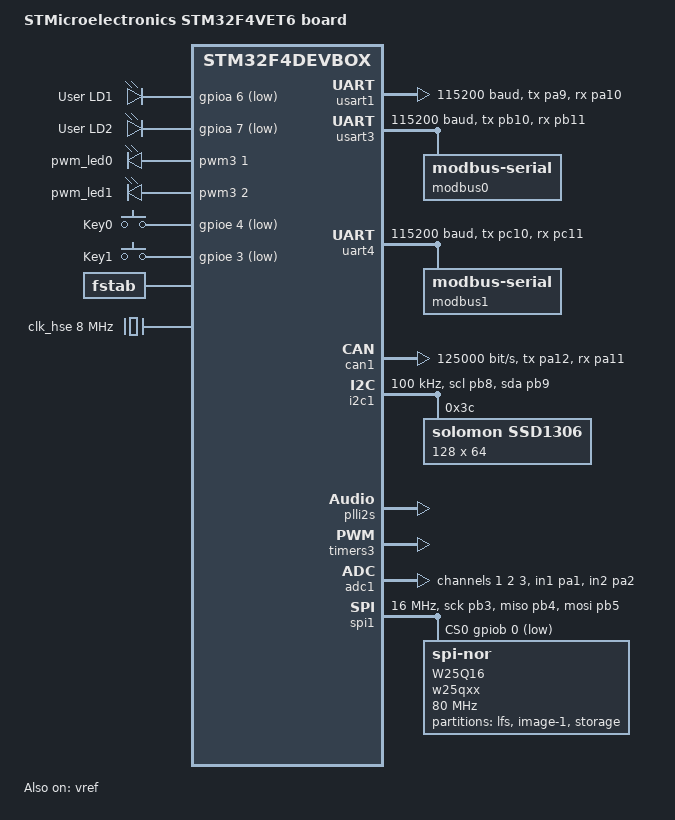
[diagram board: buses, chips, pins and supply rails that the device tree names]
/*
 * Copyright (c) 2017 Linaro Limited
 *
 * SPDX-License-Identifier: Apache-2.0
 */

/dts-v1/;
#include <st/f4/stm32f407Xg.dtsi>
#include <st/f4/stm32f407v(e-g)tx-pinctrl.dtsi>
#include <zephyr/dt-bindings/input/input-event-codes.h>
#include <zephyr/dt-bindings/dma/stm32_dma.h>

/ {
	model = "STMicroelectronics STM32F4VET6 board";
	compatible = "st,stm32f4devbox";

	/*
	 * chosen 节点: Zephyr 系统的运行时配置参数
	 *
	 * Q: 最少需要指定哪些参数？
	 *
	 * A: 严格来说没有"最少"，但一个能正常启动的 Zephyr 应用至少需要:
	 *    zephyr,sram  — 告诉内核 SRAM 的起始地址和大小（用于内存管理）
	 *    zephyr,flash — 告诉内核 Flash 的起始地址和大小（用于代码定位）
	 *
	 *    zephyr,console  是可选的，但没它就没有串口输出。
	 *    zephyr,shell-uart 也是可选的，只有用 shell 子系统时才需要。
	 *
	 *    常用 chosen 属性一览:
	 *    zephyr,sram        — RAM 节点，内核堆和线程栈从这里分配
	 *    zephyr,flash       — Flash 节点，代码和只读数据存放位置
	 *    zephyr,console     — 默认控制台设备（printk 输出目标）
	 *    zephyr,shell-uart  — Shell 子系统使用的 UART
	 *    zephyr,uart-pipe   — 远程 shell 管道用的 UART
	 *    zephyr,code-partition  — 代码烧录的分区
	 *    zephyr,dtcm / zephyr,itcm — TCM 内存（Cortex-M7 等）
	 */
	chosen {
		zephyr,console = &usart1;
		zephyr,shell-uart = &usart1;
		zephyr,sram = &sram0;
		zephyr,flash = &flash0;
		zephyr,code-partition = &slot0_partition;//指定代码烧录的分区
		zephyr,display = &ssd1306;               //默认显示设备（Display API / LVGL 使用）
	};

	leds {
		compatible = "gpio-leds";

		/*
		 * 设备树节点定义语法:  label: node-name { ... };
		 *
		 *   label     (冒号左边): 节点标签，用于被 & 引用，如 &led0
		 *   node-name (冒号右边): 节点名称，是节点在设备树路径中的名称
		 *
		 * 【易错点】aliases 中 & 引用的是 label，不是 node-name！
		 *
		 *   正确: led0: led_0 { ... };  aliases { led0 = &led0; }
		 *   错误: led0: led_0 { ... };  aliases { led0 = &led_0; }  ← 编译报错！
		 *
		 * 因为 &led_0 试图引用名为 "led_0" 的标签，但标签是 "led0"。
		 * 报错信息: "devicetree error: /aliases: undefined node label 'led_0'"
		 *
		 * 【推荐写法】为避免混淆，建议 label 和 node-name 使用不同命名：
		 *   green_led: led_0 { ... };   aliases { led0 = &green_led; }
		 *   参考 stm32f4_disco 板卡的写法。
		 */
		led0: led_0 {
			gpios = <&gpioa 6 GPIO_ACTIVE_LOW>;
			label = "User LD1";
		};

		led1: led_1 {
			gpios = <&gpioa 7 GPIO_ACTIVE_LOW>;
			label = "User LD2";
		};
	};

	pwmleds: pwmleds {
		compatible = "pwm-leds";

		pwm_led0: pwm_led_0 {
		pwms = <&pwm3 1 PWM_MSEC(20) PWM_POLARITY_NORMAL>;
		/* &pwm3: 引用 timers3 的 pwm 子节点 */
		/* 1: TIM3 通道 1 → PA6 */
		/* PWM_MSEC(20): 周期 20ms = 50Hz，适合 LED 调光 */
		};

		pwm_led1: pwm_led_1 {
		pwms = <&pwm3 2 PWM_MSEC(20) PWM_POLARITY_NORMAL>;
		/* 2: TIM3 通道 2 → PA7 */
		};
	};

	gpio_keys: gpio_keys {
		compatible = "gpio-keys";
		debounce-interval-ms = <30>;    /* 去抖时间 30ms */
		user_button0: button0 {
			label = "Key0";
			gpios = <&gpioe 4 GPIO_ACTIVE_LOW>;
			zephyr,code = <INPUT_KEY_0>;
		};

		user_button1: button1 {
			label = "Key1";
			gpios = <&gpioe 3 GPIO_ACTIVE_LOW>;
			zephyr,code = <INPUT_KEY_1>;
		};

	};

	longpress: longpress {
		compatible = "zephyr,input-longpress";
		input = <&gpio_keys>;                              /* 监听哪个设备，不填则监听所有 */
		input-codes = <INPUT_KEY_0>, <INPUT_KEY_1>;        /* 要检测的按键码 */
		short-codes = <INPUT_KEY_A>, <INPUT_KEY_B>;        /* 短按时输出的码 */
		long-codes = <INPUT_KEY_X>, <INPUT_KEY_Y>;         /* 长按时输出的码 */
		long-delay-ms = <2000>;                             /* 超过此时间算长按 */
	};

	/*
	 * aliases 节点: 为节点创建别名，供 C 代码通过 DT_ALIAS() 宏引用。
	 *
	 * 例如: #define LED0_NODE DT_ALIAS(led0)
	 *       会解析到 aliases 中的 led0 = &led0，进而找到 leds/led_0 节点。
	 *
	 * Zephyr 常用别名约定:
	 *   led0, led1, led2, ...   → LED 指示灯
	 *   sw0, sw1, sw2, ...      → 按键开关
	 *   bt0, bt1, ...           → 按键（另一种命名）
	 *   volt-sensor0, ...       → 电压传感器
	 *   die-temp0, ...          → 芯片温度传感器
	 */
	aliases {
		led0 = &led0;
		led1 = &led1;
		pwm-led0 = &pwm_led0;
		pwm-led1 = &pwm_led1;
		bt0 = &user_button0;
		bt1 = &user_button1;
		adc1 = &adc1;
		volt-sensor0 = &vref;
	};
};


&flash0 {
	partitions {
		compatible = "fixed-partitions";
		#address-cells = <1>;
		#size-cells = <1>;

		/*
		 * STM32F407VET6 内部 flash: 512KB
		 *
		 * 扇区布局（最小擦除单位 = 整个扇区）:
		 * Sector 0: 0x00000000, 16KB
		 * Sector 1: 0x00004000, 16KB
		 * Sector 2: 0x00008000, 16KB
		 * Sector 3: 0x0000C000, 16KB
		 * Sector 4: 0x00010000, 64KB
		 * Sector 5: 0x00020000, 128KB
		 * Sector 6: 0x00040000, 128KB
		 * Sector 7: 0x00060000, 128KB
		 *
		 * MCUboot 分区规划（Overwrite 模式 + 外部 flash slot1）:
		 *   mcuboot  : 48KB   — 引导加载程序（Sector 0~2）
		 *   image-0  : 464KB  — 主应用固件（Sector 3~7）
		 *   image-1  : 512KB  — 升级固件暂存（W25Q16 外部 flash）
		 *
		 * Overwrite 模式说明:
		 *   升级时 MCUboot 从外部 flash 的 slot1 读取镜像，
		 *   覆写到内部 flash 的 slot0，无需 scratch 分区。
		 *   优点: 内部 flash 空间最大化（464KB vs 旧方案 208KB）
		 *   缺点: 升级中断无法回滚（需确保升级过程完整）
		 *   配置: MCUboot 需启用 CONFIG_BOOT_UPGRADE_ONLY=y
		 *
		 * 跨设备 flash 工作原理:
		 *   Zephyr flash_map 为每个分区生成 flash_area 结构体，
		 *   其中 fa_dev 指向对应的 flash 驱动设备:
		 *     slot0 (内部 flash) → fa_dev = SOC_FLASH_STM32 驱动
		 *     slot1 (W25Q16)     → fa_dev = SPI_NOR 驱动
		 *   MCUboot 的 flash_area_read/write/erase 通过 fa_dev
		 *   自动路由到正确的驱动，无需手动区分设备。
		 *
		 *   Overwrite 模式关键路径:
		 *     1. boot_read_image_headers() → flash_area_read(slot1) → SPI NOR 驱动
		 *     2. bootutil_img_validate()   → flash_area_read(slot1) → SPI NOR 驱动
		 *     3. boot_copy_region()        → read(slot1) + write(slot0) → 跨设备复制
		 *     4. do_boot()                 → flash_device_base(slot0) → 内部 flash 跳转
		 *   所有 I/O 操作通过 fa_dev 路由，跳转地址始终是内部 flash。
		 *
		 * 必要配置:
		 *   1. CONFIG_SPI_NOR_FLASH_LAYOUT_PAGE_SIZE=4096
		 *      W25Q16 最小擦除单位是 4KB，必须让驱动报告真实值，
		 *      否则 boot_slots_compatible() 会因 64KB 不能整除 16KB 而失败
		 *   2. CONFIG_BOOT_MAX_IMG_SECTORS=256
		 *      slot1 有 512KB/4KB = 128 个扇区，需增大默认值
		 *
		 * MCUboot 编译命令:
		 *   zephyrproject\bootloader\mcuboot\boot\zephyr> \
		 *   west build -b stm32f4_devebox -d build_mcuboot -- \
		 *     -DCONFIG_BOOT_UPGRADE_ONLY=y
		 *   板级配置文件 boards/stm32f4_devebox.conf 会自动加载
		 */

		boot_partition: partition@0 {
			label = "mcuboot";
			reg = <0x00000000 DT_SIZE_K(48)>;
			read-only;
		};
		slot0_partition: partition@c000 {
			label = "image-0";
			reg = <0x0000C000 DT_SIZE_K(464)>;
		};
	};
};


/*
 * DMA1 必须启用，因为 UART3 和 UART4 的 DMA 请求连接在 DMA1 上：
 *   UART3_TX → DMA1 Stream3 Ch4    UART3_RX → DMA1 Stream1 Ch4
 *   UART4_TX → DMA1 Stream4 Ch4    UART4_RX → DMA1 Stream2 Ch4
 */
&dma1 {
	status = "okay";
};

&dma2 {
	status = "okay";
};

&clk_lsi {
	status = "okay";
};

&clk_hse {
	clock-frequency = <DT_FREQ_M(8)>;
	status = "okay";
};

&pll {
	div-m = <8>;
	mul-n = <336>;
	div-p = <2>;
	div-q = <7>;
	clocks = <&clk_hse>;
	status = "okay";
};

&rcc {
	clocks = <&pll>;
	clock-frequency = <DT_FREQ_M(168)>;
	ahb-prescaler = <1>;
	apb1-prescaler = <4>;
	apb2-prescaler = <2>;
};

&usart1 {
	pinctrl-0 = <&usart1_tx_pa9 &usart1_rx_pa10>;
	pinctrl-names = "default";
	current-speed = <115200>;
	status = "okay";
};

&usart3 {
	pinctrl-0 = <&usart3_tx_pb10 &usart3_rx_pb11>;
	pinctrl-names = "default";
	current-speed = <115200>;
	/*
	 * Async API (DMA 模式) 需要 dmas:
	 *   3 = DMA1 Stream 3 (TX),   4 = Channel 4 (USART3_TX 请求线)
	 *   1 = DMA1 Stream 1 (RX),   4 = Channel 4 (USART3_RX 请求线)
	 *   STM32_DMA_PERIPH_TX = MEM_TO_PERIPH | MEM_INC (默认 8-bit)
	 *   STM32_DMA_PERIPH_RX = PERIPH_TO_MEM | MEM_INC (默认 8-bit)
	 */
	dmas = <&dma1 3 4 STM32_DMA_PERIPH_TX STM32_DMA_FIFO_FULL>,
	       <&dma1 1 4 STM32_DMA_PERIPH_RX STM32_DMA_FIFO_FULL>;
	dma-names = "tx", "rx";
	status = "okay";

	modbus0 {
		compatible = "zephyr,modbus-serial";
		status = "okay";
		/* RS485 收发器需配置 DE 引脚，TTL 直连可省略 */
		/* de-gpios = <&gpiox pin GPIO_ACTIVE_HIGH>; */
	};
};

&uart4 {
	pinctrl-0 = <&uart4_tx_pc10 &uart4_rx_pc11>;
	pinctrl-names = "default";
	current-speed = <115200>;
	/*
	 * UART4 的 DMA 通道:
	 *   4 = DMA1 Stream 4 (TX),   4 = Channel 4 (UART4_TX 请求线)
	 *   2 = DMA1 Stream 2 (RX),   4 = Channel 4 (UART4_RX 请求线)
	 */
	dmas = <&dma1 4 4 STM32_DMA_PERIPH_TX STM32_DMA_FIFO_FULL>,
	       <&dma1 2 4 STM32_DMA_PERIPH_RX STM32_DMA_FIFO_FULL>;
	dma-names = "tx", "rx";
	status = "okay";
	modbus1 {
		compatible = "zephyr,modbus-serial";
		status = "okay";
		/* RS485 收发器需配置 DE 引脚，TTL 直连可省略 */
		/* de-gpios = <&gpiox pin GPIO_ACTIVE_HIGH>; */
	};
};

&can1 {
	pinctrl-0 = <&can1_tx_pa12 &can1_rx_pa11>;
	pinctrl-names = "default";
	bitrate = <125000>;
	sample-point = <875>;
	status = "okay";

	can-transceiver {
		max-bitrate = <1000000>;
	};
};

/*
 * I2C1 节点配置详解
 *
 * Q: pinctrl-0 和 pinctrl-names 是什么？为什么 I2C 必须配置？
 *
 * A: pinctrl (Pin Controller) 是 Zephyr 的引脚复用配置机制。
 *    STM32 的每个引脚可以映射到多种外设功能（AF），必须显式指定。
 *
 *    pinctrl-0: 引用 pinctrl dtsi 中预定义的引脚配置节点
 *    pinctrl-names: 为 pinctrl-0 起个名字，"default" 表示默认（也是唯一）配置
 *
 *    I2C 引脚必须配置的原因:
 *    1. STM32 引脚默认是 GPIO 模式，不配置 pinctrl 则 I2C 信号无法输出到引脚
 *    2. I2C 是开漏协议，必须设置 drive-open-drain（pinctrl dtsi 中已预设）
 *    3. I2C 需要上拉电阻，pinctrl 中已设置 bias-pull-up（内部弱上拉，外部仍需上拉）
 *
 *    PB8 = I2C1_SCL (AF4), PB9 = I2C1_SDA (AF4)
 *    这是 I2C1 的默认引脚，定义在 stm32f407v(e-g)tx-pinctrl.dtsi 中
 *
 * Q: clock-frequency 的选择？
 *
 * A: I2C 标准定义了三种速率:
 *    I2C_BITRATE_STANDARD = 100 KHz  (标准模式, 默认值, 兼容性最好)
 *    I2C_BITRATE_FAST     = 400 KHz  (快速模式, 大多数传感器支持)
 *    I2C_BITRATE_FAST_PLUS = 1 MHz   (高速模式, 部分设备支持)
 *
 *    注意: 速率越高，信号完整性要求越高，线长越短。
 *    面包板/杜邦线建议用 100KHz，PCB 短线可用 400KHz。
 *
 * Q: 总线上的设备子节点怎么写？
 *
 * A: I2C 总线设备子节点格式:
 *    device_name: device@address {
 *        compatible = "vendor,device";   // 匹配驱动
 *        reg = <address>;               // 7位地址（不含R/W位）
 *        label = "Friendly Name";       // 旧式标签（可选）
 *    };
 *
 *    address 是 7 位地址（0x00~0x7F），不含最低位的 R/W 标志。
 *    例如: 0x78 = 0b01111000，这是 7 位地址 0x3C 左移 1 位的结果
 *    如果设备数据手册写的是 8 位地址 0x78，则 7 位地址 = 0x78 >> 1 = 0x3C
 *
 *    【重要】0x78 的两种解读:
 *    - 如果 0x78 是 8 位写地址（最常见）: 7 位地址 = 0x78 >> 1 = 0x3C
 *    - 如果 0x78 已经是 7 位地址（少见）: reg = <0x78>
 *    大多数 I2C 设备数据手册给出的地址是包含 R/W 位的 8 位格式，
 *    OLED SSD1306 的常见地址就是 0x3C（7位）或 0x78（8位写）。
 */
&i2c1 {
	pinctrl-0 = <&i2c1_scl_pb8 &i2c1_sda_pb9>;
	pinctrl-names = "default";
	clock-frequency = <I2C_BITRATE_STANDARD>;
	status = "okay";

	/*
	 * SSD1306 OLED 显示屏 (128x64, I2C)
	 *
	 * compatible: "solomon,ssd1306" — 匹配 Zephyr 内置的 SSD1306 驱动
	 *   驱动源码: zephyr/drivers/display/display_ssd1306.c
	 *   DTS绑定: zephyr/dts/bindings/display/solomon,ssd1306-common.yaml
	 *
	 * 属性说明:
	 *   reg              — 7 位 I2C 地址 (0x3C = 8位地址 0x78 >> 1)
	 *   width/height     — 显示分辨率（像素）
	 *   segment-offset   — 列起始偏移（Page 寻址模式下，0 表示从第 0 列开始）
	 *   page-offset      — 页起始偏移（0 表示从第 0 页开始）
	 *   display-offset   — 显示 RAM 到屏幕的行偏移（0 表示无偏移）
	 *   multiplex-ratio  — 复用比 = height - 1（128x64 → 63, 128x32 → 31）
	 *   prechargep       — 预充电周期 [高位:Phase2 低位:Phase1]，0x22 为典型值
	 *   segment-remap    — 水平镜像（列地址 127 映射到 SEG0）
	 *   com-invdir       — 垂直镜像（COM 扫描方向从 COM63 到 COM0）
	 *
	 * segment-remap + com-invdir 的组合效果:
	 *   都不设: 正常方向（适合大多数模块的默认方向）
	 *   都设置: 旋转 180°（如果显示内容上下颠倒，加这两个属性）
	 *   只设一个: 水平或垂直镜像
	 *
	 * reset-gpios: 可选，硬件 RESET 引脚。如果你的模块没有连接 RESET 引脚
	 *   （很多廉价模块直接把 RESET 拉高），可以省略此属性。
	 *   驱动会使用软件复位命令代替。
	 *
	 * SSD1315 兼容性说明:
	 *   SSD1315 是 SSD1306 的国产替代芯片，指令集高度兼容。
	 *   大多数情况下 "solomon,ssd1306" 驱动可以直接驱动 SSD1315。
	 *   如果显示异常，可能需要调整 prechargep 或对比度参数。
	 */
	ssd1306: ssd1306@3c {
		compatible = "solomon,ssd1306";
		reg = <0x3c>;
		width = <128>;
		height = <64>;
		segment-offset = <0>;
		page-offset = <0>;
		display-offset = <0>;
		multiplex-ratio = <63>;
		prechargep = <0x22>;
		segment-remap;
		com-invdir;
	};

	/*
	 * 通用 I2C 设备节点（保留用于 I2C 底层学习）
	 *
	 * 这个节点使用 "zephyr,i2c-device" 通用 compatible，不绑定任何专用驱动。
	 * iic_board.c 中的 i2c_board_scan()、i2c_board_write_reg() 等底层 API
	 * 使用此节点的地址进行 I2C 总线操作练习。
	 *
	 * 注意: SSD1306 和此节点共享同一个 I2C 地址 0x3C，它们是同一个物理设备。
	 *   - 使用 Zephyr Display API 操作屏幕时，通过 ssd1306 节点
	 *   - 学习 I2C 底层通信时，通过此节点（i2c_board_test 等）
	 *   两者不要同时操作，否则可能产生总线冲突。
	 */
	i2c_device_0x78: i2cdev@3c {
		compatible = "zephyr,i2c-device";
		reg = <0x3C>;
		label = "I2C_DEV_0x78";
		/*
		 * 默认禁用: 与 ssd1306 节点共享同一 I2C 地址 0x3C。
		 * 启用 SSD1306 驱动时，两个节点同时 enabled 会导致驱动冲突。
		 * 使用 iic_board 底层测试时，需要:
		 *   1. 将此节点改为 status = "okay"
		 *   2. 将 ssd1306 节点改为 status = "disabled"
		 *   3. 重新编译
		 */
		status = "disabled";
	};
};

/*
 * &vref: 内部参考电压（VREFINT）监测器
 *
 * Q: 这个是什么？一定需要 okay 吗？
 *
 * A: vref 是 STM32 芯片内部的一个校准电压通道（ADC1 通道 17），
 *    电压约 1.21V 且非常稳定。它不是外部引脚，而是芯片内部连接到
 *    ADC 的专用信号。
 *
 *    用途:
 *    1. adc_raw_to_millivolts() 内部用 vref 的值来计算实际 VDDA
 *       因为 VDDA 不一定是精确的 3.3V（可能是 3.2~3.4V），通过
 *       测量稳定的 VREFINT 可以反推真实的 VDDA 电压。
 *
 *       VDDA_real = VREFINT_cal / VREFINT_measured × VDDA_cal
 *       (VREFINT_cal 出厂时校准值存储在 Flash OTP 区域)
 *
 *    2. 如果不启用 vref，adc_raw_to_millivolts() 假定 VDDA = 3.3V
 *       精度会下降，但对于学习项目差异不大。
 *
 *    结论: 学习阶段不启用也可以（status = "disabled"），
 *          但启用后 ADC 电压转换更精确。
 */
&vref {
	status = "okay";
};


&plli2s {
	/* Minimize audio clock error (with i2s mck-enabled) for all of:
	 * - 22.05kHz / 16b, 24b or 32b
	 * - 44.1kHz  / 16b, 24b or 32b
	 * - 88.2kHz  / 16b or 24b
	 * Note: because the PLLI2S is dependent on the main PLL, the latter
	 *       should not be changed without checking impact on PLLI2S
	 */
	div-m = <8>;
	mul-n = <271>;
	div-r = <2>;
	clocks = <&clk_hse>;
	status = "okay";
};

&timers3 {
    status = "okay";
    st,prescaler = <83>;

    pwm3: pwm {
        status = "okay";
        pinctrl-0 = <&tim3_ch1_pa6 &tim3_ch2_pa7>;
        pinctrl-names = "default";
    };
};

/*
 * ============================================================================
 * ADC1 节点配置详解
 * ============================================================================
 *
 * Q: #address-cells = <1>  这是什么？为什么是 1？
 *
 * A: #address-cells 指定子节点 reg 属性中"地址"部分占用的 cell 数量。
 *    一个 cell 是 32 位整数。
 *
 *    #address-cells = <1> 意味着子节点的 reg = <地址>，只占 1 个 cell。
 *    例如: channel@1 { reg = <1>; }  — 1 cell 的地址
 *
 *    如果是 #address-cells = <2>，则需要 2 个 cell:
 *        somechild@1000,2000 { reg = <0x1000 0x2000>; }
 *
 *    常见值:
 *    <1> 用于简单索引地址（通道号、端口号等）
 *    <2> 用于 64 位地址（如 32 位处理器的 64 位外设地址）
 *
 * Q: #size-cells = <0>  这是什么？为什么是 0？
 *
 * A: #size-cells 指定子节点 reg 属性中"大小"部分占用的 cell 数量。
 *
 *    #size-cells = <0> 意味着子节点的 reg 只有"地址"没有"大小"。
 *    channel@1 { reg = <1>; }     — 只有地址 1，无大小
 *
 *    #size-cells = <1>:
 *    somenode@40000000 { reg = <0x40000000 0x400>; }  — 地址 + 大小
 *
 *    对于 ADC 通道，通道号 (1, 2, ...) 本身就是地址，没有"大小"概念，
 *    所以 #size-cells = <0>。
 *
 * Q: dmas = <&dma2 0 0 (STM32_DMA_PERIPH_RX | STM32_DMA_16BITS) STM32_DMA_FIFO_FULL>;
 *    定义了 dmas 可以不使用 dma 吗？参数什么含义？
 *
 * A: 可以！dmas 只是声明"我可以用 DMA"，是否实际启用取决于:
 *    - Kconfig: CONFIG_DMA=y 且 CONFIG_ADC_STM32_DMA=y
 *    - DTS: dma 控制器本身 status = "okay"
 *    如果 Kconfig 没开，dmas 属性被编译进 DT 但驱动不会初始化 DMA。
 *
 *    4 个 cell 参数的含义 (st,stm32-dma-v1 的 #dma-cells = <4>):
 *
 *    Cell 0 (channel): 0  — DMA2 的流编号 (Stream 0)
 *         STM32F4 有 2 个 DMA 控制器，每个 8 个 Stream (0~7)。
 *         ADC1 可以使用 DMA2 Stream 0 或 Stream 4，这里选 Stream 0。
 *
 *    Cell 1 (slot):    0  — DMA 请求通道号 (Channel 0)
 *         每个外设在 DMA 控制器上有一个固定的请求通道。
 *         STM32F407 中 ADC1 的 DMA 请求连接到 DMA2 Channel 0。
 *
 *    Cell 2 (channel_config): (STM32_DMA_PERIPH_RX | STM32_DMA_16BITS)
 *         STM32_DMA_PERIPH_RX = PERIPH_TO_MEMORY(方向:外设→内存) | MEM_INC(内存地址递增)
 *         STM32_DMA_16BITS    = PERIPH_16BITS(外设数据16位宽) | MEM_16BITS(内存数据16位宽)
 *         两者按位或组合成完整的通道配置位域。
 *
 *    Cell 3 (features): STM32_DMA_FIFO_FULL — FIFO 阈值全满
 *         FIFO_THRESHOLD_1_4 = 0  (1/4 满触发传输)
 *         FIFO_THRESHOLD_HALF = 1 (半满触发传输)
 *         FIFO_THRESHOLD_3_4  = 2 (3/4 满触发传输)
 *         FIFO_THRESHOLD_FULL = 3 (全满触发传输)
 *         对于 ADC DMA，这个值影响不大，驱动会自动处理。
 *
 * Q: channel@1 中四个参数什么意思？和 adc.c 重复吗？
 *
 * A: DTS 中的属性声明硬件默认值，C 代码中的 adc_channel_cfg 是运行时配置。
 *
 *    两者关系:
 *    DTS channel@1 定义了:
 *      reg                     — 通道号 (1 = ADC_IN1)
 *      zephyr,gain             — 默认增益
 *      zephyr,reference        — 默认参考源
 *      zephyr,acquisition-time — 默认采样时间
 *      zephyr,resolution       — 默认分辨率
 *
 *    C 代码 adc_channel_setup() 时:
 *      驱动先读取 DTS 的默认值，然后用 adc_channel_cfg 中的值覆盖。
 *      如果 adc_channel_cfg 某字段未设置(值为 0)，则沿用 DTS 默认值。
 *
 *    所以 DTS 是"出厂默认值"，C 代码是"运行时覆盖"。
 *    两者都写是为了: DTS 让硬件配置可见 + C 代码显式控制。
 *    简单场景下只写 adc_channel_cfg 也能工作（驱动会用默认值填充）。
 */
&adc1 {
	#address-cells = <1>;
	#size-cells = <0>;

	pinctrl-0 = <&adc1_in1_pa1 &adc1_in2_pa2>;
	pinctrl-names = "default";
	st,adc-prescaler = <4>;
	dmas = <&dma2 0 0 (STM32_DMA_PERIPH_RX | STM32_DMA_16BITS) STM32_DMA_FIFO_FULL>;
	status = "okay";

	channel@1 {
		reg = <1>;
		zephyr,gain = "ADC_GAIN_1";
		zephyr,reference = "ADC_REF_INTERNAL";
		zephyr,acquisition-time = <ADC_ACQ_TIME_DEFAULT>;
		zephyr,resolution = <12>;
	};

	channel@2 {
		reg = <2>;
		zephyr,gain = "ADC_GAIN_1";
		zephyr,reference = "ADC_REF_INTERNAL";
		zephyr,acquisition-time = <ADC_ACQ_TIME_DEFAULT>;
		zephyr,resolution = <12>;
	};

	channel@16 {
		reg = <3>;
		zephyr,gain = "ADC_GAIN_1";
		zephyr,reference = "ADC_REF_INTERNAL";
		zephyr,acquisition-time = <ADC_ACQ_TIME_DEFAULT>;
		zephyr,resolution = <12>;
	};
};

&spi1 {
	status = "okay";
	pinctrl-0 = <&spi1_sck_pb3 &spi1_miso_pb4 &spi1_mosi_pb5>;
	pinctrl-names = "default";
	/* SPI1 外设时钟频率（APB2 经分频后的输入时钟） */
	clock-frequency = <16000000>;
	/*
	 * CS 片选 GPIO 列表：
	 *   子节点 reg=<0> 对应此列表的第 0 项，reg=<1> 对应第 1 项，以此类推
	 *   GPIO_ACTIVE_LOW 表示 CS 低电平有效（W25Q16 的 /CS 引脚）
	 *   如果硬件上 CS 直接连 GND（始终选中），jedec,spi-nor 驱动将无法正常工作，
	 *   因为驱动需要在每次 SPI 事务之间拉高 CS 来分隔命令帧
	 */
	cs-gpios = <&gpiob 0 GPIO_ACTIVE_LOW>;//是数组来的

	w25qxx: w25qxx@0 {
		compatible = "jedec,spi-nor";
		/* reg=<0> 对应 cs-gpios 列表第 0 项（PB0） */
		reg = <0>;
		/*
		 * SPI 最大时钟频率：
		 *   W25Q16 标准读模式最高 104 MHz，实际取 80 MHz 留余量
		 */
		spi-max-frequency = <80000000>;
		label = "W25Q16";
		/*
		 * JEDEC ID：[制造商 类型 容量]
		 *   ef = Winbond (华邦)
		 *   40 = 内存类型
		 *   15 = 16 Mbit 容量代码
		 * 驱动初始化时会读取芯片的 JEDEC ID 与此值比对校验
		 */
		jedec-id = [ef 40 15];
		/*
		 * Flash 容量，单位为 bit：
		 *   16777216 = 16 Mbit = 2 MB（W25Q16 的 "16" 指 16 Mbit）
		 */
		size = <16777216>;

		/*
		 * W25Q16 分区表（fixed-partitions）：
		 *   将 2MB Flash 划分为多个逻辑分区，每个分区可独立使用
		 *
		 * slot1_partition 在外部 flash 上的工作原理:
		 *   Zephyr flash_map 根据 DTS 自动为每个分区生成 flash_area 结构体，
		 *   fa_dev 字段通过 DT_MTD_FROM_PARTITION() 宏自动解析:
		 *     partition → fixed-partitions → w25qxx (jedec,spi-nor) → SPI NOR 驱动
		 *   因此 slot1 的 fa_dev 指向 W25Q16 的 SPI NOR 驱动，
		 *   MCUboot 通过 flash_area_read(slot1) 即可读取外部 flash 中的升级镜像。
		 *
		 */
		partitions {
			compatible = "fixed-partitions";
			#address-cells = <1>;
			#size-cells = <1>;

			lfs_partition: partition@0 {
				label = "lfs";
				reg = <0x00000000 0x00100000>; /* 前 1MB 给 LittleFS */
			};

			slot1_partition: partition@100000 {
				label = "image-1";
				reg = <0x00100000 0x00074000>; /* 464KB 给 MCUbot slot1 */
			};

			storage_partition: partition@174000 {
				label = "storage";
				reg = <0x00174000 0x0008c000>; /* 后 560KB 预留 */
			};
		};
	};
};

/*
 * 文件系统挂载表（fstab）：
 *   在 DTS 中声明文件系统挂载参数，构建系统自动生成 fs_mount_t 结构体
 *   应用代码通过 FS_FSTAB_DECLARE_ENTRY(DT_NODELABEL(lfs1)) 引用
 *
 * fstab 与传统手动 fs_mount() 的区别：
 *   - fstab：DTS 声明 → 自动生成结构体 → automount 自动挂载，代码零行
 *   - 手动：C 代码声明 fs_mount_t → 手动填充参数 → 手动调用 fs_mount()
 *   fstab 是 Zephyr 4.x 推荐方式，参数与硬件配置集中管理在 DTS 中
 */
/ {
	fstab {
		compatible = "zephyr,fstab";

		lfs1: lfs1 {
			compatible = "zephyr,fstab,littlefs";
			/* 挂载点路径：文件操作时使用此路径前缀，如 "/lfs1/config.txt" */
			mount-point = "/lfs1";
			/* 引用上面定义的 lfs_partition 分区 */
			partition = <&lfs_partition>;
			/*
			 * automount：启动时自动挂载
			 * 如果不设置，需要在应用代码中手动调用 fs_mount()
			 */
			automount;
			/*
			 * LittleFS 参数说明：
			 *   read-size      : 最小读取粒度（字节），建议 ≥ 16
			 *   prog-size      : 最小编程粒度（字节），建议 ≥ 16
			 *   cache-size     : 读/写缓存大小（字节），越大性能越好，但占用更多 RAM
			 *   lookahead-size : 前瞻缓冲区大小（字节），必须是 8 的倍数
			 *   block-cycles   : 磨损均衡擦除周期，0=禁用磨损均衡
			 *                    推荐 256~1024，值越大写入越快但磨损均衡越弱
			 *
			 * 这些参数影响 RAM 占用和性能，W25Q16 (2MB) 的推荐值：
			 *   RAM 占用 ≈ cache-size * 2 + lookahead-size ≈ 64*2+32 = 160 字节
			 */
			read-size = <16>;
			prog-size = <16>;
			cache-size = <64>;
			lookahead-size = <32>;
			block-cycles = <512>;
		};
	};
};
